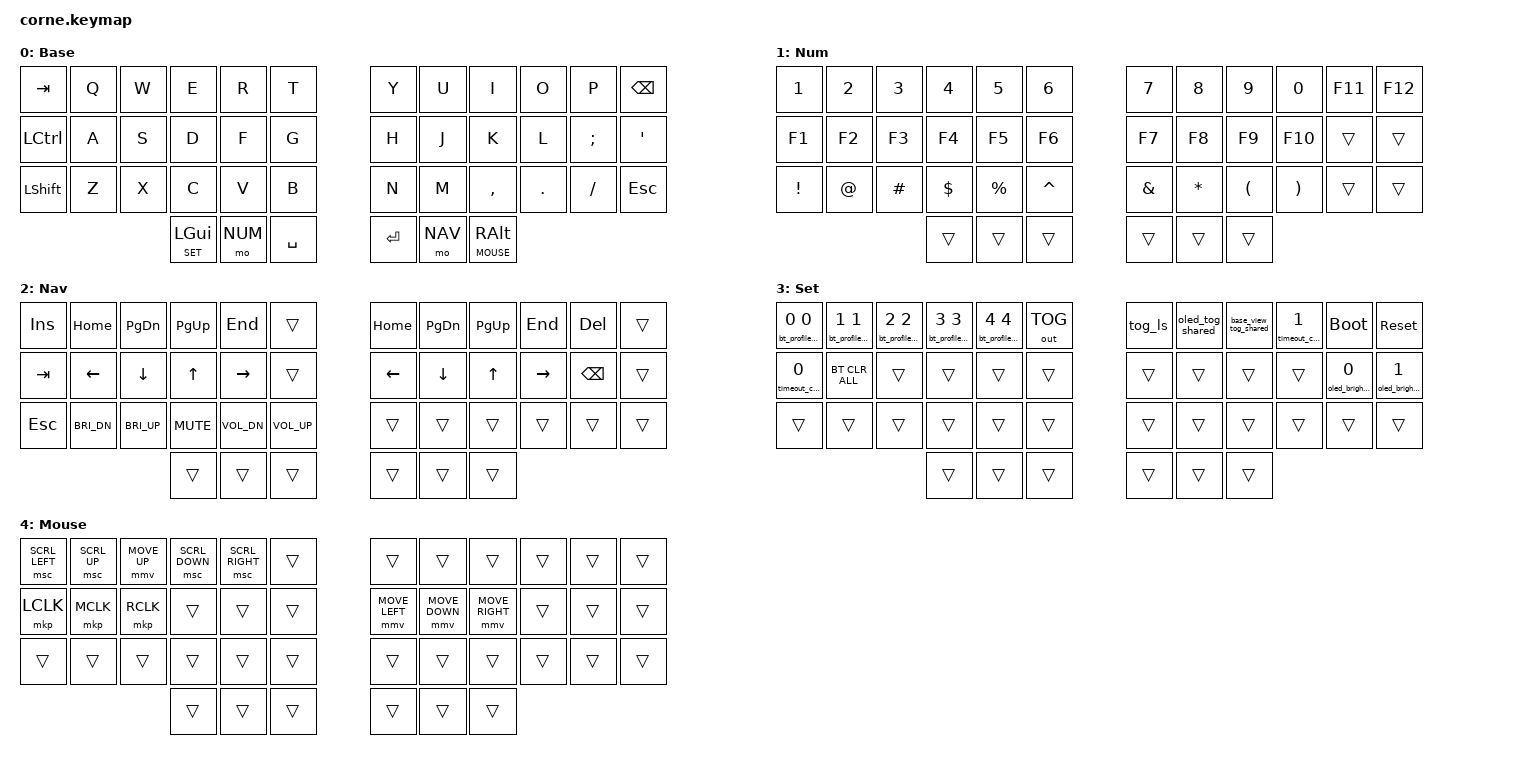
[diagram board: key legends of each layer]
/*
 * Copyright (c) 2020 The ZMK Contributors
 *
 * SPDX-License-Identifier: MIT
 */

#include <behaviors.dtsi>
#include <dt-bindings/zmk/keys.h>
#include <dt-bindings/zmk/bt.h>
#include <dt-bindings/zmk/outputs.h>
#include <dt-bindings/zmk/pointing.h>
#include "../common/studio_features.dtsi"
#include "../common/studio_runtime_layers.dtsi"
#include "../common/studio_unlock_combo.dtsi"

#define BASE  0
#define NUM   1
#define NAV   2
#define SET   3
#define MOUSE 4


/ {
        keymap {
                compatible = "zmk,keymap";

                base_layer {
                        display-name = "Base";
                        
// -----------------------------------------------------------------------------------------
// |  TAB |  Q  |  W  |  E  |  R  |  T  |   |  Y  |  U   |  I  |  O  |  P  | BSPC |
// | CTRL |  A  |  S  |  D  |  F  |  G  |   |  H  |  J   |  K  |  L  |  ;  |  '   |
// | SHFT |  Z  |  X  |  C  |  V  |  B  |   |  N  |  M   |  ,  |  .  |  /  | ESC  |
//                    | GUI | LWR | SPC |   | ENT | RSE  | ALT |
                        bindings = <
   &kp TAB   &kp Q &kp W &kp E &kp R &kp T   &kp Y &kp U  &kp I     &kp O   &kp P    &kp BSPC
   &kp LCTRL &kp A &kp S &kp D &kp F &kp G   &kp H &kp J  &kp K     &kp L   &kp SEMI &kp SQT
   &kp LSHFT &kp Z &kp X &kp C &kp V &kp B   &kp N &kp M  &kp COMMA &kp DOT &kp FSLH &kp ESC
                  &lt SET LGUI &mo NUM &kp SPACE   &kp RET &mo NAV &lt MOUSE RALT
                        >;
                };
                num_layer {
                    display-name = "Num";
                    bindings = <
                        &kp N1 &kp N2 &kp N3 &kp N4 &kp N5 &kp N6 &kp N7 &kp N8 &kp N9 &kp N0 &kp F11 &kp F12
                        &kp F1 &kp F2 &kp F3 &kp F4 &kp F5 &kp F6 &kp F7 &kp F8 &kp F9 &kp F10 &trans &trans
                        &kp EXCL &kp AT &kp HASH &kp DLLR &kp PRCNT &kp CARET &kp AMPS &kp ASTRK &kp LPAR &kp RPAR &trans &trans
                        &trans &trans &trans &trans &trans &trans
                    >;
                };
                nav_layer {
                    display-name = "Nav";
                    bindings = <
                        &kp INS &kp HOME &kp PG_DN &kp PG_UP &kp END &trans &kp HOME &kp PG_DN &kp PG_UP &kp END &kp DEL &trans
                        &kp TAB &kp LEFT &kp DOWN &kp UP &kp RIGHT &trans &kp LEFT &kp DOWN &kp UP &kp RIGHT &kp BSPC &trans
                        &kp ESC &kp C_BRI_DN &kp C_BRI_UP &kp C_MUTE &kp C_VOL_DN &kp C_VOL_UP &trans &trans &trans &trans &trans &trans
                        &trans &trans &trans &trans &trans &trans
                    >;
                };
                set_layer {
                    display-name = "Set";
                    bindings = <
                        &bt_profile_shared 0 0 &bt_profile_shared 1 1 &bt_profile_shared 2 2 &bt_profile_shared 3 3 &bt_profile_shared 4 4 &out OUT_TOG &tog_ls &oled_tog_shared &base_view_tog_shared &timeout_cycle_shared 1 &bootloader &sys_reset
                        &timeout_cycle_shared 0 &bt BT_CLR_ALL &trans &trans &trans &trans &trans &trans &trans &trans &oled_brightness_shared 0  &oled_brightness_shared 1
                        &trans &trans &trans &trans &trans &trans &trans &trans &trans &trans &trans &trans
                        &trans &trans &trans &trans &trans &trans
                    >;
                };
                mouse_layer {
                    display-name = "Mouse";
                    bindings = <
                        &msc SCRL_LEFT &msc SCRL_UP &mmv MOVE_UP &msc SCRL_DOWN &msc SCRL_RIGHT &trans &trans &trans &trans &trans &trans &trans
                        &mkp LCLK &mkp MCLK &mkp RCLK &trans &trans &trans &mmv MOVE_LEFT &mmv MOVE_DOWN &mmv MOVE_RIGHT &trans &trans &trans
                        &trans &trans &trans &trans &trans &trans &trans &trans &trans &trans &trans &trans
                        &trans &trans &trans &trans &trans &trans
                    >;
                };
            ZMK_STUDIO_RUNTIME_LAYER_SLOTS_4
    };
};
